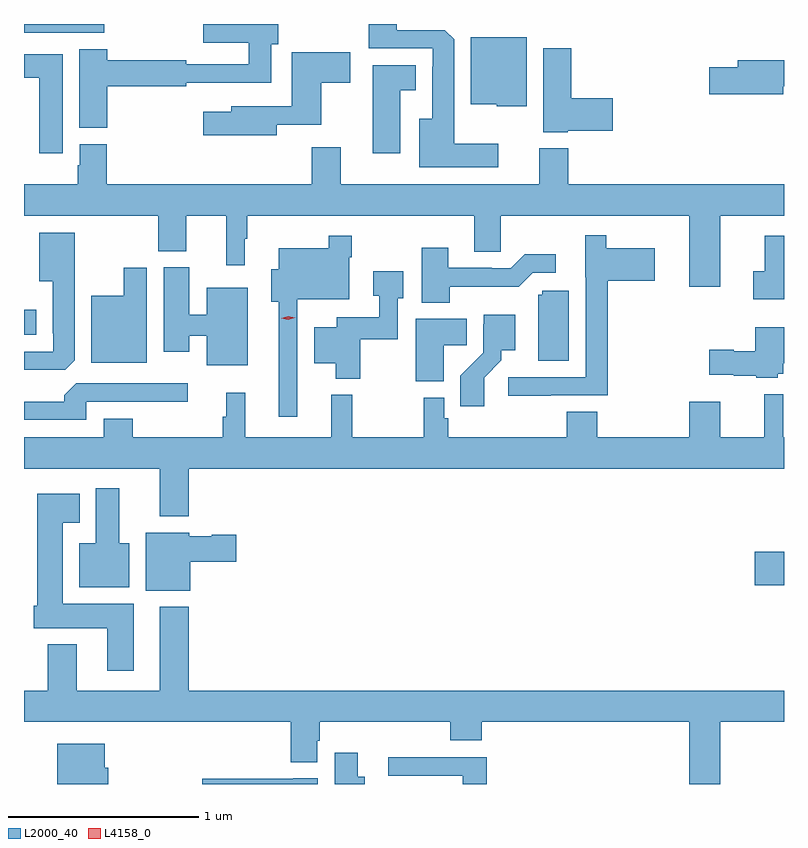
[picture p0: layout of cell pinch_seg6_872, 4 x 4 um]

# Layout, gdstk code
import gdstk
lib = gdstk.Library(unit=1e-6, precision=1e-09)
def R(c, l, rs):  # rectangles x0, y0, x1, y1
    for r in rs: c.add(gdstk.rectangle(r[:2], r[2:], *l))
def P(c, l, *ps):  # polygons
    for p in ps: c.add(gdstk.Polygon(p, *l))
L2000_40 = (2000, 40)
L4158_0 = (4158, 0)

pinch_seg6_872 = lib.new_cell('pinch_seg6_872')
R(pinch_seg6_872, L2000_40, [(153.366,925.409,153.519,925.587), (149.519,926.729,149.584,926.86), (149.519,928.317,149.942,928.364)])
P(pinch_seg6_872, L2000_40, [(152.014,927.733),(151.783,927.733),(151.783,928.283),(151.734,928.332),(151.48,928.332),(151.48,928.364),(151.333,928.364),(151.333,928.236),(151.671,928.236),(151.671,928.139),(151.667,928.139),(151.667,927.865),(151.598,927.865),(151.598,927.611),(152.014,927.611)],
  [(149.957,928.036),(150.374,928.036),(150.374,928.056),(150.819,928.056),(150.819,928.258),(150.858,928.258),(150.858,928.364),(150.462,928.364),(150.462,928.265),(150.703,928.265),(150.703,928.152),(150.374,928.152),(150.374,928.172),(149.957,928.172),(149.957,928.232),(149.81,928.232),(149.81,927.817),(149.957,927.817)],
  [(152.164,928.294),(151.871,928.294),(151.871,927.941),(152.007,927.941),(152.007,927.932),(152.164,927.932)],
  [(152.382,927.803),(152.617,927.803),(152.617,927.974),(152.399,927.974),(152.399,928.237),(152.252,928.237),(152.252,927.794),(152.382,927.794)],
  [(150.85,927.834),(151.084,927.834),(151.084,928.054),(151.237,928.054),(151.237,928.216),(150.929,928.216),(150.929,927.93),(150.611,927.93),(150.611,927.901),(150.462,927.901),(150.462,927.779),(150.85,927.779)],
  [(149.722,928.204),(149.519,928.204),(149.519,928.082),(149.6,928.082),(149.6,927.684),(149.722,927.684)],
  [(153.514,928.036),(153.519,928.036),(153.519,928.172),(153.275,928.172),(153.275,928.136),(153.126,928.136),(153.126,927.994),(153.514,927.994)],
  [(151.498,928.016),(151.582,928.016),(151.582,928.147),(151.355,928.147),(151.355,927.684),(151.498,927.684)],
  [(152.384,927.709),(152.231,927.709),(152.231,927.52),(151.186,927.52),(151.186,927.715),(151.034,927.715),(151.034,927.52),(149.954,927.52),(149.954,927.732),(149.813,927.732),(149.813,927.621),(149.801,927.621),(149.801,927.52),(149.519,927.52),(149.519,927.356),(150.226,927.356),(150.226,927.169),(150.373,927.169),(150.373,927.356),(150.584,927.356),(150.584,927.093),(150.682,927.093),(150.682,927.233),(150.694,927.233),(150.694,927.356),(151.889,927.356),(151.889,927.166),(152.028,927.166),(152.028,927.356),(153.02,927.356),(153.02,926.982),(153.184,926.982),(153.184,927.356),(153.519,927.356),(153.519,927.52),(152.384,927.52)],
  [(149.785,926.593),(149.785,927.265),(149.6,927.265),(149.6,927.011),(149.669,927.011),(149.669,926.737),(149.673,926.737),(149.673,926.64),(149.519,926.64),(149.519,926.544),(149.736,926.544)],
  [(152.291,926.409),(152.591,926.409),(152.591,927.014),(152.839,927.014),(152.839,927.184),(152.584,927.184),(152.584,927.253),(152.474,927.253),(152.474,927.03),(152.475,927.03),(152.475,926.505),(152.067,926.505),(152.067,926.407),(152.291,926.407)],
  [(150.957,926.915),(151.23,926.915),(151.23,927.137),(151.243,927.137),(151.243,927.25),(151.122,927.25),(151.122,927.184),(150.86,927.184),(150.86,927.073),(150.821,927.073),(150.821,926.903),(150.86,926.903),(150.86,926.298),(150.957,926.298)],
  [(153.519,927.25),(153.418,927.25),(153.418,927.063),(153.356,927.063),(153.356,926.915),(153.519,926.915)],
  [(151.761,926.982),(152.123,926.982),(152.196,927.054),(152.317,927.054),(152.317,927.151),(152.155,927.151),(152.082,927.078),(151.982,927.078),(151.982,927.081),(151.753,927.081),(151.753,927.187),(151.613,927.187),(151.613,926.897),(151.761,926.897)],
  [(150.697,926.977),(150.482,926.977),(150.482,926.833),(150.388,926.833),(150.388,927.084),(150.254,927.084),(150.254,926.64),(150.388,926.64),(150.388,926.722),(150.482,926.722),(150.482,926.567),(150.697,926.567)],
  [(150.166,927.082),(150.044,927.082),(150.044,926.935),(149.873,926.935),(149.873,926.582),(150.166,926.582)],
  [(151.29,926.704),(151.485,926.704),(151.485,926.921),(151.516,926.921),(151.516,927.063),(151.358,927.063),(151.358,926.933),(151.388,926.933),(151.388,926.82),(151.166,926.82),(151.166,926.767),(151.046,926.767),(151.046,926.579),(151.16,926.579),(151.16,926.498),(151.29,926.498)],
  [(152.386,926.961),(152.247,926.961),(152.247,926.94),(152.225,926.94),(152.225,926.592),(152.386,926.592)],
  [(151.942,926.503),(152.032,926.593),(152.032,926.648),(152.104,926.648),(152.104,926.833),(151.94,926.833),(151.94,926.784),(151.935,926.784),(151.935,926.633),(151.816,926.514),(151.816,926.352),(151.942,926.352)],
  [(151.729,926.674),(151.85,926.674),(151.85,926.812),(151.58,926.812),(151.58,926.483),(151.729,926.483)],
  [(153.486,926.523),(153.514,926.523),(153.514,926.579),(153.519,926.579),(153.519,926.767),(153.368,926.767),(153.368,926.641),(153.255,926.641),(153.255,926.649),(153.126,926.649),(153.126,926.519),(153.255,926.519),(153.255,926.512),(153.372,926.512),(153.372,926.501),(153.486,926.501)],
  [(149.847,926.376),(150.382,926.376),(150.382,926.472),(149.793,926.472),(149.732,926.41),(149.732,926.376),(149.519,926.376),(149.519,926.28),(149.847,926.28)],
  [(153.519,926.188),(153.515,926.188),(153.515,926.416),(153.415,926.416),(153.415,926.188),(153.184,926.188),(153.184,926.377),(153.02,926.377),(153.02,926.188),(152.535,926.188),(152.535,926.324),(152.375,926.324),(152.375,926.188),(151.751,926.188),(151.751,926.289),(151.731,926.289),(151.731,926.398),(151.623,926.398),(151.623,926.188),(151.246,926.188),(151.246,926.413),(151.136,926.413),(151.136,926.188),(150.683,926.188),(150.683,926.422),(150.584,926.422),(150.584,926.297),(150.565,926.297),(150.565,926.188),(150.092,926.188),(150.092,926.287),(149.939,926.287),(149.939,926.188),(149.519,926.188),(149.519,926.024),(150.233,926.024),(150.233,925.772),(150.386,925.772),(150.386,926.024),(153.519,926.024)],
  [(150.073,925.63),(150.019,925.63),(150.019,925.921),(149.897,925.921),(149.897,925.63),(149.81,925.63),(149.81,925.4),(150.073,925.4)],
  [(150.097,925.312),(149.722,925.312),(149.722,925.739),(149.812,925.739),(149.812,925.891),(149.588,925.891),(149.588,925.302),(149.57,925.302),(149.57,925.184),(149.957,925.184),(149.957,924.96),(150.097,924.96)],
  [(150.394,925.535),(150.637,925.535),(150.637,925.677),(150.507,925.677),(150.507,925.669),(150.39,925.669),(150.39,925.687),(150.161,925.687),(150.161,925.382),(150.394,925.382)],
  [(153.184,924.692),(153.519,924.692),(153.519,924.856),(150.386,924.856),(150.386,925.297),(150.233,925.297),(150.233,924.856),(149.797,924.856),(149.797,925.099),(149.645,925.099),(149.645,924.856),(149.519,924.856),(149.519,924.692),(150.923,924.692),(150.923,924.479),(151.063,924.479),(151.063,924.591),(151.076,924.591),(151.076,924.692),(151.763,924.692),(151.763,924.593),(151.928,924.593),(151.928,924.692),(153.02,924.692),(153.02,924.364),(153.184,924.364)],
  [(149.962,924.45),(149.944,924.45),(149.944,924.577),(149.693,924.577),(149.693,924.364),(149.962,924.364)],
  [(151.312,924.403),(151.276,924.403),(151.276,924.529),(151.154,924.529),(151.154,924.364),(151.312,924.364)],
  [(151.955,924.506),(151.437,924.506),(151.437,924.408),(151.829,924.408),(151.829,924.364),(151.955,924.364)],
  [(151.066,924.394),(150.936,924.394),(150.936,924.391),(150.458,924.391),(150.458,924.364),(151.066,924.364)])
P(pinch_seg6_872, L4158_0, [(150.91,926.807),(150.874,926.815),(150.874,926.815),(150.874,926.816),(150.91,926.827),(150.945,926.819),(150.946,926.819),(150.945,926.818)])

lib.write_gds('pinch_seg6_872.gds')
